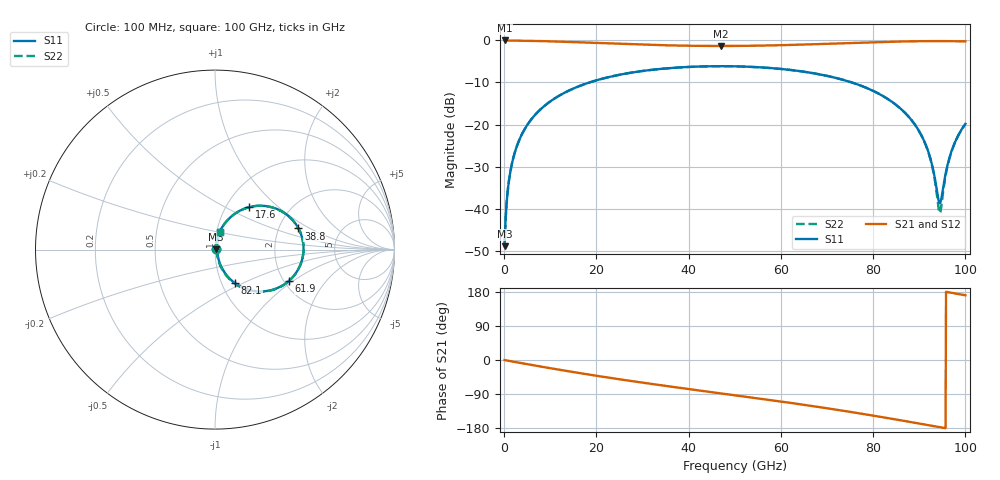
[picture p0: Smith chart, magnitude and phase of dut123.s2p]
! Touchstone file exported from HFSS 2026.1.0
!  File:  C:/ffzhzh/LocalFiles/Ansys_Project_Files/temp_train_RDL_123_1783499478_44152.aedt
!  Generated:  04:32:37 PM Jul  8, 2026
!  Design:  RDL
!  Project:  temp_train_RDL_123_1783499478_44152
! Variables:
!  h_bsmrdl = 2um
!  h_ox = 20um
!  h_rdl = 5um
!  h_sub = 80um
!  h_tmrdl = 3.75um
!  h_tsv = 80um
!  h_via = 3um
!  l_bsmrdl = 300um
!  l_sub = 1033.78um
!  l_tmrdl = 633.78um
!  m_sub = 200um
!  pitch = 45.03um
!  r_tsv = 6um
!  s_tmrdl = 10um
!  w_bsmrdl = 18um
!  w_sub = 500um
!  w_tmrdl = 23.12um
!  x_tsv_center1 = 645.34um
!  x_tsv_center2 = 963.34um
!  x_tsv_center3 = 1620.24um
!  x_tsv_center4 = 1938.24um
!  x_tsv_center5 = 2595.14um
!  x_tsv_center6 = 2913.14um
# GHz S MA R 50.000000
! Terminal data exported
! Port[1] = TM_RDL1_1_T1
! Port[2] = TM_RDL1_1_T2
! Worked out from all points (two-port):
!   1000 points, 100 MHz to 100 GHz, reference 50 ohm
!   highest |S21| = -0.02 dB at 100 MHz (marker M1); lowest = -1.3 dB at 47 GHz (marker M2)
!   |S21| within 3 dB of the highest: start of sweep to end of sweep
!   lowest |S11| = -48.9 dB at 100 MHz (marker M3), VSWR 1.01, Z = 50.3 + j0.228 ohm
!   |S11| at or under -10 dB: start of sweep to 18.49 GHz; 75.37 GHz to end of sweep
!   |S22| runs from -48.9 to -6.1 dB; largest |S21 - S12| = 1.8e-14
!   S11 on the Smith chart (normalised r, x): 100 MHz: 1.01, +0.00; 17.6 GHz: 1.28, +0.67; 38.8 GHz: 2.56, +0.79; 61.9 GHz: 2.12, -0.93; 82.1 GHz: 1.16, -0.46; 100 GHz: 1.04, +0.21
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0.1  0.003602 39.0  0.9972 -0.2  0.9972 -0.2  0.003602 39.0
! Gamma 0 0 0 0
! Port Impedance 50 0 50 0
0.9  0.0188 77.0  0.9963 -2.0  0.9963 -2.0  0.0188 77.0
1.5  0.03065 79.5  0.9957 -3.4  0.9957 -3.4  0.03065 79.5
4.1  0.08162 77.3  0.9915 -9.1  0.9915 -9.1  0.08163 77.3
9  0.1714 67.8  0.9771 -19.6  0.9771 -19.6  0.1714 67.7
16.8  0.2935 52.6  0.9453 -35.4  0.9453 -35.4  0.2935 52.5
17.6  0.3044 51.1  0.9417 -37.0  0.9417 -37.0  0.3044 51.0
33.4  0.4552 23.1  0.8784 -65.6  0.8784 -65.6  0.4552 23.0
38.8  0.4798 14.3  0.8653 -74.7  0.8653 -74.7  0.4799 14.1
47  0.4935 1.1  0.8577 -88.1  0.8577 -88.1  0.4935 1.0
50.1  0.4914 -3.8  0.8587 -93.1  0.8587 -93.1  0.4915 -4.0
61.9  0.4464 -23.1  0.8817 -112.9  0.8817 -112.9  0.4465 -23.3
66.7  0.4101 -31.3  0.8981 -121.3  0.8981 -121.3  0.4102 -31.6
82.1  0.2187 -59.1  0.9583 -151.0  0.9583 -151.0  0.2187 -59.9
83.4  0.1976 -61.4  0.9624 -153.7  0.9624 -153.7  0.1976 -62.3
87.7  0.124 -68.3  0.9732 -162.8  0.9732 -162.8  0.124 -69.7
90.8  0.06844 -70.5  0.9778 -169.4  0.9778 -169.4  0.06817 -72.9
92.6  0.03621 -65.3  0.9791 -173.3  0.9791 -173.3  0.03554 -69.8
94.4  0.01172 -2.5  0.9792 -177.2  0.9792 -177.2  0.00893 -5.0
94.8  0.01336 30.2  0.9791 -178.0  0.9791 -178.0  0.0109 36.7
96.9  0.04672 72.3  0.9777 177.4  0.9777 177.4  0.04596 75.5
100  0.1021 73.6  0.973 170.8  0.973 170.8  0.1017 75.1
